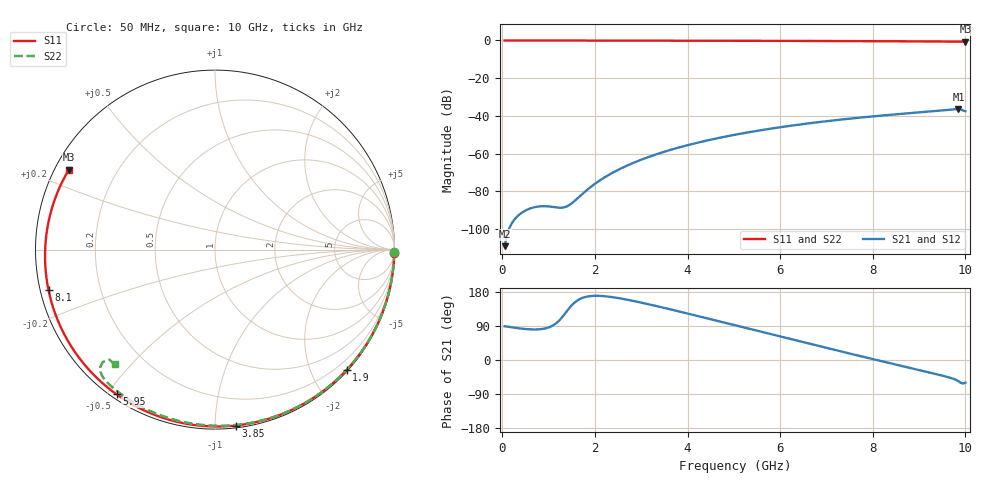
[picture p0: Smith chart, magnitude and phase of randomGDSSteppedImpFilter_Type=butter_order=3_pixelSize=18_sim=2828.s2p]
! freq	dB(S11)	phase(S11)	dB(S12)	phase(S12)
!  dB(S21)	phase(S21)	dB(S22)	phase(S22)
!S-par simulation data
#  GHz  S  DB  R 50
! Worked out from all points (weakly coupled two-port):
!   200 points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, 50 MHz to 10 GHz, reference 50 ohm
!   highest |S21| = -36.27 dB at 9.85 GHz (marker M1); lowest = -109.0 dB at 50 MHz (marker M2)
!   lowest |S11| = -0.6 dB at 10 GHz (marker M3), VSWR 26.83, Z = 1.99 + j12.8 ohm
!   |S11| at or under -10 dB: nowhere
!   |S22| runs from -1.4 to 0.0 dB; largest |S21 - S12| = 0
!   S11 on the Smith chart (normalised r, x): 50 MHz: open; 1.9 GHz: 0.02, -2.57; 3.85 GHz: 0.01, -1.13; 5.95 GHz: 0.02, -0.53; 8.1 GHz: 0.02, -0.12; 10 GHz: 0.04, +0.26
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0.05  -0.00 -1.1  -109.01 89.1  -109.01 89.1  -0.00 -0.7
0.85  -0.02 -19.2  -87.85 81.7  -87.85 81.7  -0.02 -12.9
1.75  -0.05 -39.2  -80.89 164.7  -80.89 164.7  -0.03 -26.3
1.8  -0.05 -40.3  -79.83 166.5  -79.83 166.5  -0.03 -27.1
1.9  -0.05 -42.4  -77.82 168.6  -77.82 168.6  -0.04 -28.5
2.2  -0.06 -48.9  -72.69 168.4  -72.69 168.4  -0.04 -32.9
2.55  -0.07 -56.4  -67.97 162.5  -67.97 162.5  -0.05 -38.0
2.95  -0.08 -64.8  -63.67 152.8  -63.67 152.8  -0.06 -43.8
3.4  -0.10 -74.1  -59.74 140.3  -59.74 140.3  -0.07 -50.1
3.85  -0.11 -83.3  -56.47 127.1  -56.47 127.1  -0.08 -56.4
4.45  -0.14 -95.2  -52.85 109.1  -52.85 109.1  -0.09 -64.6
5.05  -0.17 -106.9  -49.85 90.8  -49.85 90.8  -0.11 -72.6
5.95  -0.22 -124.2  -46.17 63.4  -46.17 63.4  -0.14 -84.2
6.7  -0.27 -138.6  -43.68 40.8  -43.68 40.8  -0.18 -93.6
7.4  -0.33 -152.3  -41.70 20.0  -41.70 20.0  -0.22 -102.1
8.1  -0.40 -166.3  -40.00 -0.5  -40.00 -0.5  -0.27 -110.5
8.35  -0.43 -171.5  -39.45 -7.8  -39.45 -7.8  -0.29 -113.5
8.9  -0.50 176.8  -38.31 -23.6  -38.31 -23.6  -0.33 -120.1
9.45  -0.57 164.4  -37.21 -39.6  -37.21 -39.6  -0.39 -127.0
9.85  -0.63 155.0  -36.27 -55.9  -36.27 -55.9  -0.76 -134.3
9.95  -0.64 152.5  -37.15 -62.2  -37.15 -62.2  -1.42 -133.7
10  -0.65 151.3  -37.53 -59.9  -37.53 -59.9  -1.41 -131.2
